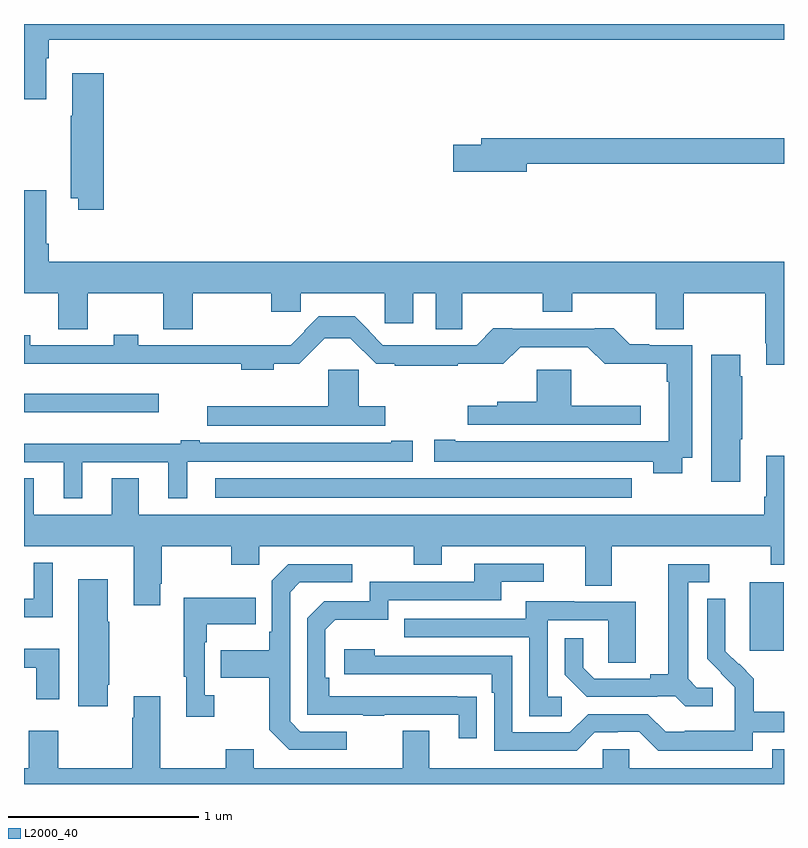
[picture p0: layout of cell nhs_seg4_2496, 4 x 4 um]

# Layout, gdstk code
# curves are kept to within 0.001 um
import gdstk
lib = gdstk.Library(unit=1e-6, precision=1e-09)
def R(c, l, rs):  # rectangles x0, y0, x1, y1
    for r in rs: c.add(gdstk.rectangle(r[:2], r[2:], *l))
def P(c, l, *ps):  # polygons
    for p in ps: c.add(gdstk.Polygon(p, *l))
L2000_40 = (2000, 40)

nhs_seg4_2496 = lib.new_cell('nhs_seg4_2496')
R(nhs_seg4_2496, L2000_40, [(244.82,797.601,244.999,797.962), (242.007,798.407,244.198,798.508), (241,798.857,241.708,798.955)])
P(nhs_seg4_2496, L2000_40, [(241.117,800.72),(241.13,800.72),(241.13,800.816),(245,800.816),(245,800.9),(241,800.9),(241,800.505),(241.117,800.505)],
  [(241.421,800.641),(241.253,800.641),(241.253,800.417),(241.246,800.417),(241.246,799.982),(241.286,799.982),(241.286,799.923),(241.421,799.923)],
  [(243.646,800.164),(245,800.164),(245,800.3),(243.407,800.3),(243.407,800.264),(243.258,800.264),(243.258,800.122),(243.646,800.122)],
  [(245,799.648),(241.13,799.648),(241.13,799.744),(241.117,799.744),(241.117,800.026),(241,800.026),(241,799.484),(241.18,799.484),(241.18,799.294),(241.335,799.294),(241.335,799.484),(241.732,799.484),(241.732,799.294),(241.887,799.294),(241.887,799.484),(242.302,799.484),(242.302,799.386),(242.456,799.386),(242.456,799.484),(242.898,799.484),(242.898,799.326),(243.049,799.326),(243.049,799.484),(243.167,799.484),(243.167,799.294),(243.307,799.294),(243.307,799.484),(243.73,799.484),(243.73,799.385),(243.885,799.385),(243.885,799.484),(244.325,799.484),(244.325,799.294),(244.473,799.294),(244.473,799.484),(244.9,799.484),(244.9,799.219),(244.907,799.219),(244.907,799.107),(245,799.107)],
  [(244.465,798.617),(244.516,798.617),(244.516,799.209),(244.291,799.209),(244.291,799.214),(244.187,799.214),(244.104,799.298),(244.004,799.298),(244.004,799.296),(243.571,799.296),(243.571,799.298),(243.471,799.298),(243.383,799.209),(242.889,799.209),(242.816,799.283),(242.818,799.285),(242.741,799.363),(242.551,799.363),(242.474,799.285),(242.477,799.283),(242.404,799.21),(241.601,799.209),(241.601,799.264),(241.473,799.264),(241.473,799.209),(241.034,799.209),(241.034,799.261),(241,799.261),(241,799.112),(242.144,799.111),(242.144,799.079),(242.314,799.079),(242.314,799.111),(242.448,799.111),(242.583,799.245),(242.718,799.245),(242.853,799.111),(242.95,799.111),(242.95,799.101),(243.284,799.101),(243.284,799.112),(243.523,799.112),(243.612,799.2),(243.968,799.2),(244.057,799.111),(244.382,799.111),(244.382,799.016),(244.394,799.016),(244.394,798.703),(243.271,798.703),(243.271,798.711),(243.159,798.711),(243.159,798.596),(244.313,798.596),(244.313,798.536),(244.465,798.536)],
  [(244.771,798.715),(244.779,798.715),(244.779,799.046),(244.771,799.046),(244.771,799.159),(244.616,799.159),(244.616,798.492),(244.771,798.492)],
  [(242.902,798.889),(242.762,798.889),(242.762,799.081),(242.6,799.081),(242.6,798.889),(241.965,798.889),(241.965,798.785),(242.902,798.785)],
  [(244.246,798.891),(243.881,798.891),(243.881,799.081),(243.698,799.081),(243.698,798.913),(243.492,798.913),(243.492,798.891),(243.336,798.891),(243.336,798.792),(244.246,798.792)],
  [(241.306,798.594),(241.76,798.594),(241.76,798.405),(241.858,798.405),(241.858,798.596),(243.046,798.596),(243.046,798.707),(242.933,798.707),(242.933,798.697),(241.924,798.697),(241.924,798.71),(241.824,798.71),(241.824,798.691),(241,798.691),(241,798.594),(241.208,798.594),(241.208,798.405),(241.306,798.405)],
  [(241.717,797.953),(241.725,797.953),(241.725,798.152),(242.092,798.152),(242.092,798.053),(242.238,798.053),(242.238,798.152),(243.052,798.152),(243.052,798.053),(243.199,798.053),(243.199,798.152),(243.953,798.152),(243.953,797.944),(244.093,797.944),(244.093,798.152),(244.93,798.152),(244.93,798.053),(245,798.053),(245,798.628),(244.907,798.628),(244.907,798.412),(244.895,798.412),(244.895,798.316),(241.603,798.316),(241.603,798.509),(241.463,798.509),(241.463,798.316),(241.051,798.316),(241.051,798.509),(241,798.509),(241,798.152),(241.577,798.152),(241.577,797.841),(241.717,797.841)],
  [(241.15,798.064),(241.052,798.064),(241.052,797.874),(241,797.874),(241,797.777),(241.15,797.777)],
  [(243.383,797.36),(242.606,797.361),(242.606,797.458),(242.586,797.458),(242.586,797.712),(242.639,797.765),(242.916,797.765),(242.916,797.868),(243.511,797.868),(243.511,797.964),(243.736,797.964),(243.736,798.06),(243.371,798.06),(243.371,797.964),(242.82,797.964),(242.82,797.862),(242.58,797.862),(242.49,797.772),(242.49,797.265),(242.785,797.265),(242.785,797.26),(242.897,797.26),(242.897,797.265),(243.287,797.265),(243.287,797.142),(243.383,797.142)],
  [(242.698,797.175),(242.454,797.175),(242.4,797.229),(242.4,797.91),(242.451,797.961),(242.728,797.961),(242.728,798.057),(242.391,798.057),(242.304,797.97),(242.304,797.701),(242.292,797.701),(242.292,797.605),(242.035,797.605),(242.035,797.458),(242.292,797.458),(242.292,797.185),(242.397,797.079),(242.698,797.079)],
  [(244.624,797.406),(244.542,797.406),(244.495,797.453),(244.495,797.961),(244.606,797.961),(244.606,798.057),(244.391,798.057),(244.391,797.477),(244.295,797.477),(244.295,797.454),(244,797.454),(243.943,797.511),(243.943,797.668),(243.846,797.668),(243.846,797.474),(243.962,797.358),(244.334,797.358),(244.334,797.361),(244.428,797.361),(244.48,797.309),(244.624,797.309)],
  [(241.441,797.422),(241.449,797.422),(241.449,797.753),(241.441,797.753),(241.441,797.977),(241.286,797.977),(241.286,797.31),(241.441,797.31)],
  [(242.002,797.366),(241.95,797.366),(241.95,797.645),(241.963,797.645),(241.963,797.741),(242.219,797.741),(242.219,797.881),(241.842,797.881),(241.842,797.465),(241.853,797.465),(241.853,797.253),(242.002,797.253)],
  [(244.836,797.172),(245,797.172),(245,797.281),(244.841,797.281),(244.841,797.455),(244.764,797.532),(244.761,797.529),(244.691,797.6),(244.692,797.876),(244.596,797.876),(244.596,797.558),(244.742,797.41),(244.742,797.313),(244.74,797.313),(244.74,797.179),(244.477,797.179),(244.477,797.175),(244.377,797.175),(244.284,797.268),(243.969,797.268),(243.873,797.172),(243.57,797.172),(243.57,797.574),(242.846,797.574),(242.846,797.608),(242.685,797.608),(242.685,797.478),(243.461,797.478),(243.461,797.381),(243.474,797.381),(243.474,797.076),(243.909,797.076),(244.005,797.172),(244.124,797.172),(244.124,797.175),(244.239,797.175),(244.339,797.075),(244.836,797.075)],
  [(243.829,797.358),(243.756,797.358),(243.756,797.763),(244.074,797.763),(244.074,797.539),(244.219,797.539),(244.219,797.859),(243.895,797.859),(243.895,797.863),(243.641,797.863),(243.641,797.769),(243.001,797.769),(243.001,797.673),(243.66,797.673),(243.66,797.257),(243.829,797.257)],
  [(241.186,797.611),(241,797.611),(241,797.513),(241.064,797.513),(241.064,797.346),(241.186,797.346)],
  [(245,797.083),(244.937,797.083),(244.937,796.984),(244.185,796.984),(244.185,797.082),(244.047,797.082),(244.047,796.984),(243.133,796.984),(243.133,797.179),(242.993,797.179),(242.993,796.984),(242.209,796.984),(242.209,797.083),(242.062,797.083),(242.062,796.984),(241.717,796.984),(241.717,797.362),(241.577,797.362),(241.577,797.249),(241.57,797.249),(241.57,796.984),(241.179,796.984),(241.179,797.179),(241.024,797.179),(241.024,796.984),(241,796.984),(241,796.9),(245,796.9)])

lib.write_gds('nhs_seg4_2496.gds')
